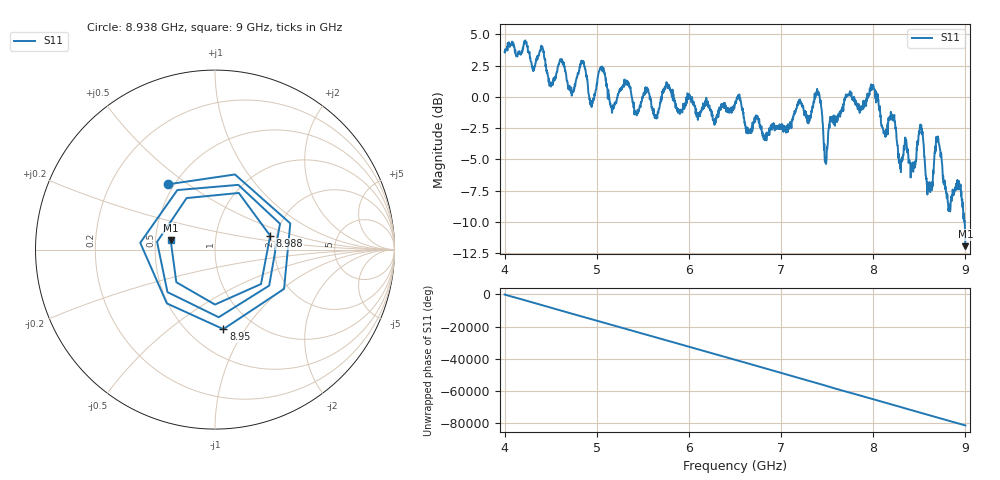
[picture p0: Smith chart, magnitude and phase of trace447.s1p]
! Created with skrf 1.8.0 (http://scikit-rf.org).
# Hz S RI R 50.0
!freq ReS11 ImS11
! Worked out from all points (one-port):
!   1601 points, 4 GHz to 9 GHz, reference 50 ohm
!   lowest |S11| = -11.9 dB at 9 GHz (marker M1), VSWR 1.68, Z = 30 + j3.48 ohm
!   |S11| at or under -10 dB: 8.991847 GHz to end of sweep
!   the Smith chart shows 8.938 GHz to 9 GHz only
!   S11 on the Smith chart (normalised r, x): 8.938 GHz: 0.46, +0.42; 8.95 GHz: 0.73, -0.80; 8.988 GHz: 1.85, +0.32; 9 GHz: 0.60, +0.07
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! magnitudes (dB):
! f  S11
! 4 GHz  3.6
! 4.4 GHz  4.0
! 4.503 GHz  0.8
! 4.625 GHz  2.9
! 4.731 GHz  0.2
! 4.853 GHz  2.7
! 4.944 GHz  -0.8
! 5.047 GHz  2.2
! 5.162 GHz  -0.9
! 5.25 GHz  0.6
! 5.875 GHz  -1.2
! 6.5 GHz  -0.4
! 6.825 GHz  -3.5
! 7.125 GHz  -1.9
! 7.397 GHz  0.4
! 7.484 GHz  -5.3
! 7.75 GHz  0.3
! 7.997 GHz  0.9
! 8.375 GHz  -4.2
! 8.441 GHz  -5.6
! 8.516 GHz  -2.5
! 8.603 GHz  -7.5
! 8.7 GHz  -3.2
! 8.812 GHz  -8.5
! 8.938 GHz  -7.0
! 8.95 GHz  -7.0
! 8.988 GHz  -10.0
! 9 GHz  -11.9
